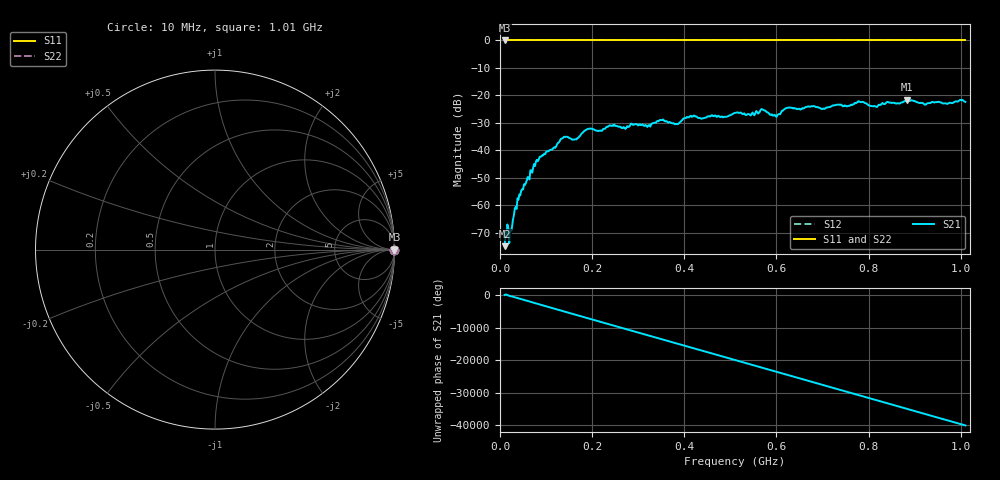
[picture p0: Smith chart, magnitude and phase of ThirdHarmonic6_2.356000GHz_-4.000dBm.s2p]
! 8/17/2025 3:35:00 AM
! C:\ANRITSUVNA\TEMP\TEMP.S2P
! CHANNEL.1
! TR.MEASUREMENT
! RAW.DATA
! RF.CORRECTION.OFF
! AVERAGING.OFF
! IF.BANDWIDTH: 5KHZ
! SWEEPTYPE:  FREQ.SWEEP(Linear)
! Reference Plane Port Info
! PORT:  PORT1  PORT2
! DISTANCE:  0  m  0  m
! TIME:  0  s  0  s
! PHASE.OFFSET:  0  deg.  0  deg.
! LOSS:  0  dB  0  dB
! REF.LOSS:  0  dB  0  dB
! REF.FREQ:  0  Hz  0  Hz
! Power Info
! POWER:  -20  dBm  -20  dBm
! EFF.POWER:  -20  dBm  -20  dBm
! SOURCE.ATTEN:  0  dB  0  dB
! TEST.ATTEN:  0  dB  0  dB
# GHZ S RI R 50.0
! FREQ.GHZ  S11RE  S11IM  S21RE  S21IM  S12RE  S12IM  S22RE  S22IM
!; PortSelection: Port_12
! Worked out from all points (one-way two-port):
!   501 points, 10 MHz to 1.01 GHz, reference 50 ohm
!   highest |S21| = -21.57 dB at 884 MHz (marker M1); lowest = -74.9 dB at 10 MHz (marker M2)
!   lowest |S11| = 0.0 dB at 10 MHz (marker M3)
!   |S11| at or under -10 dB: nowhere
!   |S22| runs from 0.0 to 0.0 dB; largest |S21 - S12| = 1.1
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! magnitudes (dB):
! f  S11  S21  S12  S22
! 10 MHz  0.0  -74.9  0.0  0.0
! 14 MHz  0.0  -71.6  0.0  0.0
! 24 MHz  0.0  -69.4  0.0  0.0
! 42 MHz  0.0  -56.1  0.0  0.0
! 82 MHz  0.0  -44.0  0.0  0.0
! 136 MHz  0.0  -35.6  0.0  0.0
! 162 MHz  0.0  -36.1  0.0  0.0
! 178 MHz  0.0  -33.7  0.0  0.0
! 244 MHz  0.0  -30.9  0.0  0.0
! 322 MHz  0.0  -30.9  0.0  0.0
! 344 MHz  0.0  -29.4  0.0  0.0
! 384 MHz  0.0  -30.5  0.0  0.0
! 410 MHz  0.0  -28.0  0.0  0.0
! 510 MHz  0.0  -26.4  0.0  0.0
! 570 MHz  0.0  -25.2  0.0  0.0
! 596 MHz  0.0  -27.1  0.0  0.0
! 624 MHz  0.0  -24.5  0.0  0.0
! 678 MHz  0.0  -24.0  0.0  0.0
! 814 MHz  0.0  -23.9  0.0  0.0
! 844 MHz  0.0  -22.6  0.0  0.0
! 884 MHz  0.0  -21.6  0.0  0.0
! 1.01 GHz  0.0  -22.3  0.0  0.0
